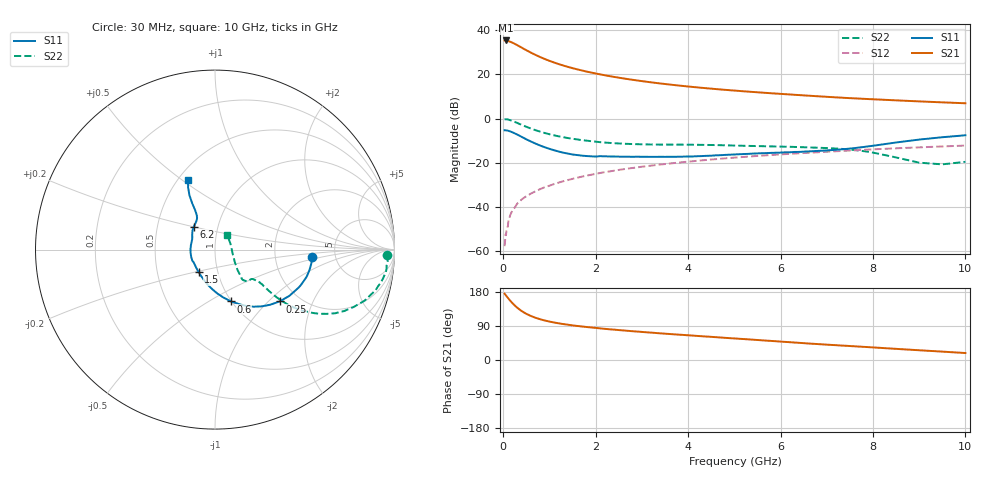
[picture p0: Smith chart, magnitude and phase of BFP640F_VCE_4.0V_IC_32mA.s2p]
! Infineon Technologies  Discrete & RF Semiconductors
! BFP640F
! VCE =  4.0 V,  IC =  32 mA
! Common Emitter S-Parameters:  Apr 2013
# GHz  S  MA  R  50
!  f  S11  S21  S12  S22
! GHz  MAG  ANG  MAG  ANG  MAG  ANG  MAG  ANG
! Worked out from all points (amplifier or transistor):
!   99 points, 30 MHz to 10 GHz, reference 50 ohm
!   highest |S21| = 35.3 dB at 50 MHz (marker M1)
!   |S21| within 3 dB of that: start of sweep to 378.3 MHz
!   unconditionally stable (mu >= 1): 1.769 GHz to end of sweep
!   at 350 MHz: K = 0.51, MSG = 35.1 dB, |S12| = -37.7 dB
!   at 3.5 GHz: K = 1.06, MAG = 16.6 dB, |S12| = -20.6 dB
!   at 10 GHz: K = 1.04, MAG = 8.3 dB, |S12| = -12.2 dB
!   S11 on the Smith chart (normalised r, x): 30 MHz: 3.33, -0.40; 250 MHz: 1.60, -1.17; 600 MHz: 0.99, -0.63; 1.5 GHz: 0.81, -0.20; 6.2 GHz: 0.77, +0.20; 10 GHz: 0.56, +0.53
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0.03  0.5437 -4.5  58.19 174.9  0.0013 77.4  0.9594 -1.7
0.05  0.5419 -8.4  58.26 171.9  0.0024 70.5  0.9651 -4.1
0.11  0.5276 -18.3  56.34 162.5  0.0046 80.8  0.9447 -10.7
0.15  0.5112 -24.6  54.51 156.7  0.0065 70.4  0.9185 -14.6
0.2  0.4879 -31.9  51.86 149.9  0.0085 72.3  0.8813 -18.8
0.25  0.4616 -38.7  48.87 143.8  0.0097 74.1  0.8383 -22.3
0.3  0.435 -44.9  45.86 138.3  0.0118 73.8  0.7977 -25.4
0.4  0.3844 -55.8  40.08 129.1  0.0148 73.0  0.7179 -29.9
0.5  0.3385 -64.9  35.05 121.8  0.0175 73.0  0.6502 -32.9
0.6  0.302 -72.9  30.86 116.1  0.0201 72.5  0.5928 -35.0
0.7  0.2709 -80.1  27.39 111.4  0.0227 72.0  0.5444 -36.3
0.9  0.2236 -93.1  22.16 104.2  0.028 71.8  0.4701 -37.5
1.2  0.1793 -110.5  17.03 96.8  0.0356 71.6  0.3961 -37.6
1.5  0.1537 -126.5  13.78 91.4  0.0433 70.9  0.3485 -36.9
1.7  0.1451 -136.4  12.22 88.5  0.0485 70.5  0.3257 -36.4
2.4  0.1383 -163.8  8.73 80.1  0.0662 67.6  0.2768 -37.4
3.4  0.1366 169.5  6.208 70.4  0.0912 63.1  0.2575 -40.6
5.1  0.1557 144.4  4.21 56.1  0.133 54.4  0.2437 -45.8
6.2  0.1723 133.1  3.5 47.0  0.1593 48.2  0.2296 -47.4
6.7  0.1827 126.7  3.24 42.8  0.1704 45.4  0.2207 -47.5
8.5  0.2872 116.2  2.578 29.4  0.2123 35.3  0.1319 -32.8
10  0.4179 111.1  2.214 18.4  0.2448 26.6  0.1051 48.5
